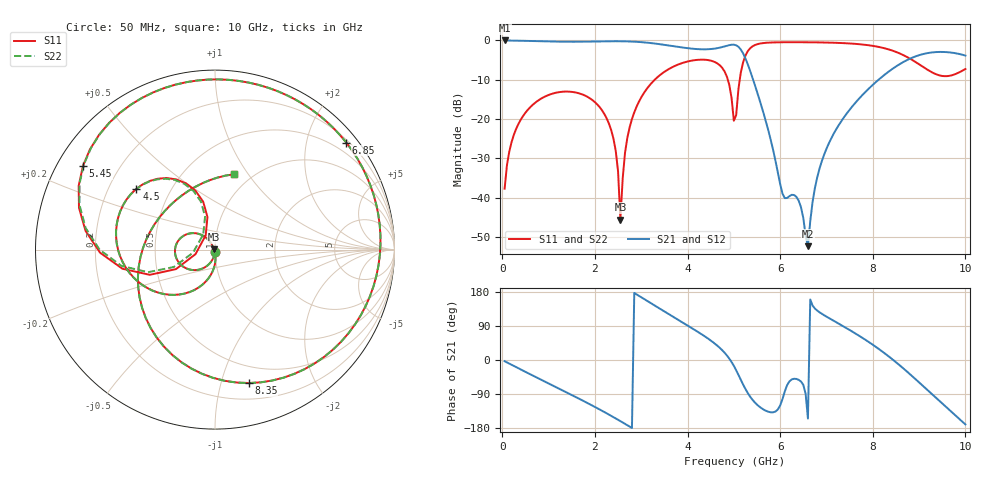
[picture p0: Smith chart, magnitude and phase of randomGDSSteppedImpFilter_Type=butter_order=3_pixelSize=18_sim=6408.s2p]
! freq	dB(S11)	phase(S11)	dB(S12)	phase(S12)
!  dB(S21)	phase(S21)	dB(S22)	phase(S22)
!S-par simulation data
#  GHz  S  DB  R 50
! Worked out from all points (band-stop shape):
!   200 points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, 50 MHz to 10 GHz, reference 50 ohm
!   highest |S21| = -0.01 dB at 50 MHz (marker M1); lowest = -52.4 dB at 6.6 GHz (marker M2)
!   |S21| within 3 dB of the highest: start of sweep to 5.185 GHz; 9.317 GHz to 9.624 GHz (307 MHz wide, 3.24 % of centre)
!   lowest |S11| = -45.6 dB at 2.55 GHz (marker M3), VSWR 1.01, Z = 49.5 + j0.0604 ohm
!   |S11| at or under -10 dB: start of sweep to 3.293 GHz; 4.87 GHz to 5.128 GHz (258.3 MHz wide, 5.17 % of centre)
!   |S22| runs from -45.8 to -0.5 dB; largest |S21 - S12| = 0
!   S11 on the Smith chart (normalised r, x): 50 MHz: 1.00, -0.03; 4.5 GHz: 0.32, +0.31; 5.45 GHz: 0.07, +0.29; 6.85 GHz: 0.26, +2.79; 8.35 GHz: 0.34, -1.23; 10 GHz: 0.83, +0.86
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0.05  -37.75 -92.5  -0.01 -3.2  -0.01 -3.2  -37.75 -92.5
0.2  -25.89 -102.5  -0.03 -12.6  -0.03 -12.6  -25.89 -102.5
0.55  -17.67 -124.8  -0.12 -34.4  -0.12 -34.4  -17.67 -124.8
1.75  -13.85 161.9  -0.32 -107.9  -0.32 -107.9  -13.85 161.9
2.35  -22.77 124.9  -0.21 -147.2  -0.21 -147.2  -22.77 124.9
2.5  -33.35 122.8  -0.21 -157.7  -0.21 -157.7  -33.37 122.6
2.55  -45.59 173.3  -0.21 -161.3  -0.21 -161.3  -45.76 173.1
2.75  -22.11 -90.0  -0.27 -175.7  -0.27 -175.7  -22.11 -89.9
3.4  -8.87 -135.8  -0.95 135.6  -0.95 135.6  -8.87 -135.7
4.5  -5.14 142.2  -2.20 51.5  -2.20 51.5  -5.13 142.8
5.05  -19.03 -166.8  -1.23 -26.9  -1.23 -26.9  -18.15 -171.9
5.2  -5.58 -168.3  -3.30 -64.7  -3.30 -64.7  -5.53 -170.1
5.45  -1.20 147.7  -11.20 -111.6  -11.20 -111.6  -1.19 146.9
5.95  -0.48 99.9  -33.58 -130.5  -33.58 -130.5  -0.48 99.5
6.4  -0.46 68.7  -40.78 -52.3  -40.78 -52.3  -0.45 68.4
6.6  -0.47 55.6  -52.37 -154.4  -52.37 -154.4  -0.47 55.3
6.7  -0.48 49.0  -41.14 143.6  -41.14 143.6  -0.48 48.8
6.85  -0.50 39.2  -32.63 125.9  -32.63 125.9  -0.50 38.9
7.6  -0.85 -12.8  -16.20 71.9  -16.20 71.9  -0.85 -12.9
8.35  -2.31 -75.8  -7.88 9.0  -7.88 9.0  -2.31 -75.9
9.3  -8.25 171.7  -3.02 -92.8  -3.02 -92.8  -8.24 171.8
10  -7.28 75.9  -3.86 -170.0  -3.86 -170.0  -7.28 76.2
